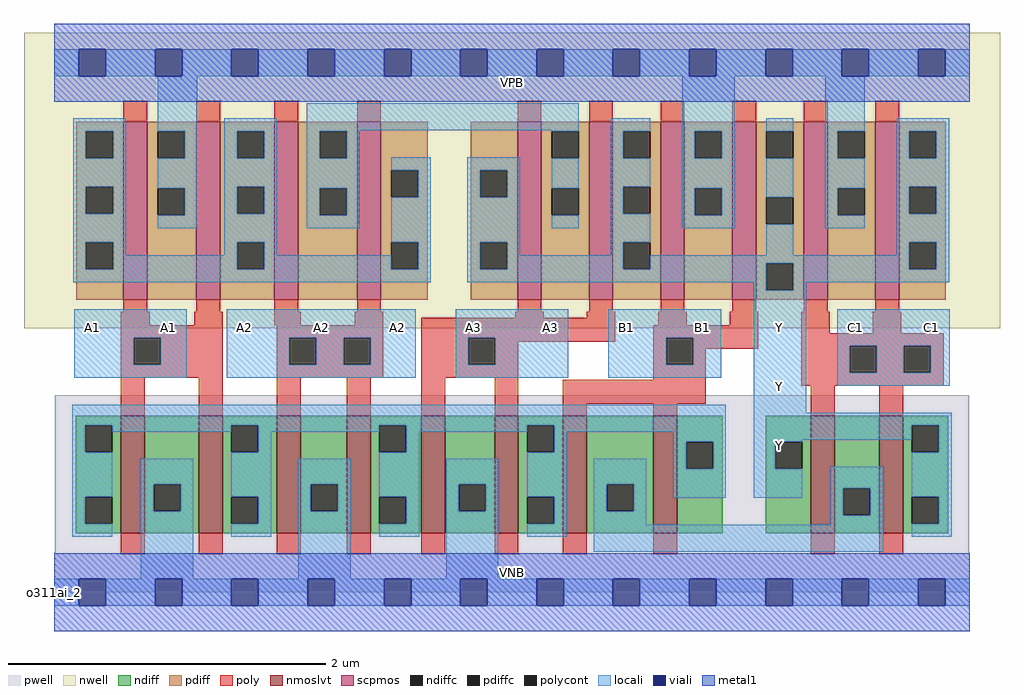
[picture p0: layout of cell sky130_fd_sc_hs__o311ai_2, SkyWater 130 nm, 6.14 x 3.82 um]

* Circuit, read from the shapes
.subckt sky130_fd_sc_hs__o311ai_2 A1 A2 A3 B1 C1 VGND VNB VPB VPWR Y
XM1 VGND A1 n1 VNB sky130_fd_pr__nfet_01v8_lvt w=0.74 l=0.15 m=2
XM2 VGND A2 n1 VNB sky130_fd_pr__nfet_01v8_lvt w=0.74 l=0.15 m=2
XM3 VGND A3 n1 VNB sky130_fd_pr__nfet_01v8_lvt w=0.74 l=0.15 m=2
XM4 n2 B1 n1 VNB sky130_fd_pr__nfet_01v8_lvt w=0.74 l=0.15 m=2
XM5 n2 C1 Y VNB sky130_fd_pr__nfet_01v8_lvt w=0.74 l=0.15 m=2
XM6 VPWR A1 n3 VPB sky130_fd_pr__pfet_01v8 w=1.12 l=0.15 m=2
XM7 n4 A2 n3 VPB sky130_fd_pr__pfet_01v8 w=1.12 l=0.15 m=2
XM8 n4 A3 Y VPB sky130_fd_pr__pfet_01v8 w=1.12 l=0.15 m=2
XM9 VPWR B1 Y VPB sky130_fd_pr__pfet_01v8 w=1.12 l=0.15 m=2
XM10 VPWR C1 Y VPB sky130_fd_pr__pfet_01v8 w=1.12 l=0.15 m=2
.ends

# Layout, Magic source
magic
tech sky130A
magscale 1 2
<< nwell >>
rect -38 332 1190 704
<< pwell >>
rect 1 49 1151 248
rect 0 0 1152 49
<< scpmos >>
rect 87 368 117 592
rect 179 368 209 592
rect 277 368 307 592
rect 381 368 411 592
rect 583 368 613 592
rect 673 368 703 592
rect 763 368 793 592
rect 853 368 883 592
rect 943 368 973 592
rect 1033 368 1063 592
<< nmoslvt >>
rect 84 74 114 222
rect 182 74 212 222
rect 280 74 310 222
rect 368 74 398 222
rect 462 74 492 222
rect 554 74 584 222
rect 640 74 670 222
rect 754 74 784 222
rect 952 74 982 222
rect 1038 74 1068 222
<< ndiff >>
rect 27 210 84 222
rect 27 176 39 210
rect 73 176 84 210
rect 27 120 84 176
rect 27 86 39 120
rect 73 86 84 120
rect 27 74 84 86
rect 114 136 182 222
rect 114 102 125 136
rect 159 102 182 136
rect 114 74 182 102
rect 212 210 280 222
rect 212 176 223 210
rect 257 176 280 210
rect 212 120 280 176
rect 212 86 223 120
rect 257 86 280 120
rect 212 74 280 86
rect 310 136 368 222
rect 310 102 323 136
rect 357 102 368 136
rect 310 74 368 102
rect 398 210 462 222
rect 398 176 409 210
rect 443 176 462 210
rect 398 120 462 176
rect 398 86 409 120
rect 443 86 462 120
rect 398 74 462 86
rect 492 136 554 222
rect 492 102 509 136
rect 543 102 554 136
rect 492 74 554 102
rect 584 210 640 222
rect 584 176 595 210
rect 629 176 640 210
rect 584 120 640 176
rect 584 86 595 120
rect 629 86 640 120
rect 584 74 640 86
rect 670 136 754 222
rect 670 102 695 136
rect 729 102 754 136
rect 670 74 754 102
rect 784 189 841 222
rect 784 155 795 189
rect 829 155 841 189
rect 784 74 841 155
rect 895 189 952 222
rect 895 155 907 189
rect 941 155 952 189
rect 895 74 952 155
rect 982 131 1038 222
rect 982 97 993 131
rect 1027 97 1038 131
rect 982 74 1038 97
rect 1068 210 1125 222
rect 1068 176 1079 210
rect 1113 176 1125 210
rect 1068 120 1125 176
rect 1068 86 1079 120
rect 1113 86 1125 120
rect 1068 74 1125 86
<< pdiff >>
rect 28 580 87 592
rect 28 546 40 580
rect 74 546 87 580
rect 28 510 87 546
rect 28 476 40 510
rect 74 476 87 510
rect 28 440 87 476
rect 28 406 40 440
rect 74 406 87 440
rect 28 368 87 406
rect 117 580 179 592
rect 117 546 130 580
rect 164 546 179 580
rect 117 508 179 546
rect 117 474 130 508
rect 164 474 179 508
rect 117 368 179 474
rect 209 580 277 592
rect 209 546 230 580
rect 264 546 277 580
rect 209 510 277 546
rect 209 476 230 510
rect 264 476 277 510
rect 209 440 277 476
rect 209 406 230 440
rect 264 406 277 440
rect 209 368 277 406
rect 307 580 381 592
rect 307 546 334 580
rect 368 546 381 580
rect 307 508 381 546
rect 307 474 334 508
rect 368 474 381 508
rect 307 368 381 474
rect 411 531 470 592
rect 411 497 424 531
rect 458 497 470 531
rect 411 440 470 497
rect 411 406 424 440
rect 458 406 470 440
rect 411 368 470 406
rect 524 531 583 592
rect 524 497 536 531
rect 570 497 583 531
rect 524 440 583 497
rect 524 406 536 440
rect 570 406 583 440
rect 524 368 583 406
rect 613 580 673 592
rect 613 546 626 580
rect 660 546 673 580
rect 613 508 673 546
rect 613 474 626 508
rect 660 474 673 508
rect 613 368 673 474
rect 703 580 763 592
rect 703 546 716 580
rect 750 546 763 580
rect 703 510 763 546
rect 703 476 716 510
rect 750 476 763 510
rect 703 440 763 476
rect 703 406 716 440
rect 750 406 763 440
rect 703 368 763 406
rect 793 580 853 592
rect 793 546 806 580
rect 840 546 853 580
rect 793 508 853 546
rect 793 474 806 508
rect 840 474 853 508
rect 793 368 853 474
rect 883 580 943 592
rect 883 546 896 580
rect 930 546 943 580
rect 883 497 943 546
rect 883 463 896 497
rect 930 463 943 497
rect 883 414 943 463
rect 883 380 896 414
rect 930 380 943 414
rect 883 368 943 380
rect 973 580 1033 592
rect 973 546 986 580
rect 1020 546 1033 580
rect 973 508 1033 546
rect 973 474 986 508
rect 1020 474 1033 508
rect 973 368 1033 474
rect 1063 580 1122 592
rect 1063 546 1076 580
rect 1110 546 1122 580
rect 1063 510 1122 546
rect 1063 476 1076 510
rect 1110 476 1122 510
rect 1063 440 1122 476
rect 1063 406 1076 440
rect 1110 406 1122 440
rect 1063 368 1122 406
<< ndiffc >>
rect 39 176 73 210
rect 39 86 73 120
rect 125 102 159 136
rect 223 176 257 210
rect 223 86 257 120
rect 323 102 357 136
rect 409 176 443 210
rect 409 86 443 120
rect 509 102 543 136
rect 595 176 629 210
rect 595 86 629 120
rect 695 102 729 136
rect 795 155 829 189
rect 907 155 941 189
rect 993 97 1027 131
rect 1079 176 1113 210
rect 1079 86 1113 120
<< pdiffc >>
rect 40 546 74 580
rect 40 476 74 510
rect 40 406 74 440
rect 130 546 164 580
rect 130 474 164 508
rect 230 546 264 580
rect 230 476 264 510
rect 230 406 264 440
rect 334 546 368 580
rect 334 474 368 508
rect 424 497 458 531
rect 424 406 458 440
rect 536 497 570 531
rect 536 406 570 440
rect 626 546 660 580
rect 626 474 660 508
rect 716 546 750 580
rect 716 476 750 510
rect 716 406 750 440
rect 806 546 840 580
rect 806 474 840 508
rect 896 546 930 580
rect 896 463 930 497
rect 896 380 930 414
rect 986 546 1020 580
rect 986 474 1020 508
rect 1076 546 1110 580
rect 1076 476 1110 510
rect 1076 406 1110 440
<< poly >>
rect 87 592 117 618
rect 179 592 209 618
rect 277 592 307 618
rect 381 592 411 618
rect 583 592 613 618
rect 673 592 703 618
rect 763 592 793 618
rect 853 592 883 618
rect 943 592 973 618
rect 1033 592 1063 618
rect 87 353 117 368
rect 179 353 209 368
rect 277 353 307 368
rect 381 353 411 368
rect 583 353 613 368
rect 673 353 703 368
rect 763 353 793 368
rect 853 353 883 368
rect 943 353 973 368
rect 1033 353 1063 368
rect 84 336 120 353
rect 176 336 212 353
rect 277 336 310 353
rect 378 336 414 353
rect 580 345 616 353
rect 670 345 706 353
rect 84 320 212 336
rect 84 286 100 320
rect 134 286 212 320
rect 84 270 212 286
rect 84 222 114 270
rect 182 222 212 270
rect 280 320 414 336
rect 280 286 296 320
rect 330 286 364 320
rect 398 286 414 320
rect 280 270 414 286
rect 462 320 706 345
rect 760 336 796 353
rect 850 336 886 353
rect 462 286 521 320
rect 555 315 706 320
rect 754 320 886 336
rect 555 286 584 315
rect 462 270 584 286
rect 280 222 310 270
rect 368 222 398 270
rect 462 222 492 270
rect 554 222 584 270
rect 754 286 770 320
rect 804 306 886 320
rect 940 326 976 353
rect 1030 326 1066 353
rect 940 310 1119 326
rect 804 286 820 306
rect 754 267 820 286
rect 640 237 820 267
rect 940 276 1001 310
rect 1035 276 1069 310
rect 1103 276 1119 310
rect 940 260 1119 276
rect 640 222 670 237
rect 754 222 784 237
rect 952 222 982 260
rect 1038 222 1068 260
rect 84 48 114 74
rect 182 48 212 74
rect 280 48 310 74
rect 368 48 398 74
rect 462 48 492 74
rect 554 48 584 74
rect 640 48 670 74
rect 754 48 784 74
rect 952 48 982 74
rect 1038 48 1068 74
<< polycont >>
rect 100 286 134 320
rect 296 286 330 320
rect 364 286 398 320
rect 521 286 555 320
rect 770 286 804 320
rect 1001 276 1035 310
rect 1069 276 1103 310
<< locali >>
rect 0 649 31 683
rect 65 649 127 683
rect 161 649 223 683
rect 257 649 319 683
rect 353 649 415 683
rect 449 649 511 683
rect 545 649 607 683
rect 641 649 703 683
rect 737 649 799 683
rect 833 649 895 683
rect 929 649 991 683
rect 1025 649 1087 683
rect 1121 649 1152 683
rect 24 580 90 596
rect 24 546 40 580
rect 74 546 90 580
rect 24 510 90 546
rect 24 476 40 510
rect 74 476 90 510
rect 24 440 90 476
rect 130 580 180 649
rect 164 546 180 580
rect 130 508 180 546
rect 164 474 180 508
rect 130 458 180 474
rect 214 580 280 596
rect 214 546 230 580
rect 264 546 280 580
rect 214 510 280 546
rect 214 476 230 510
rect 264 476 280 510
rect 24 406 40 440
rect 74 424 90 440
rect 214 440 280 476
rect 318 581 660 615
rect 318 580 384 581
rect 318 546 334 580
rect 368 546 384 580
rect 626 580 660 581
rect 318 508 384 546
rect 318 474 334 508
rect 368 474 384 508
rect 318 458 384 474
rect 424 531 474 547
rect 458 497 474 531
rect 214 424 230 440
rect 74 406 230 424
rect 264 424 280 440
rect 424 440 474 497
rect 264 406 424 424
rect 458 406 474 440
rect 24 390 474 406
rect 520 531 586 547
rect 520 497 536 531
rect 570 497 586 531
rect 520 440 586 497
rect 626 508 660 546
rect 626 458 660 474
rect 700 580 750 596
rect 700 546 716 580
rect 700 510 750 546
rect 700 476 716 510
rect 520 406 536 440
rect 570 424 586 440
rect 700 440 750 476
rect 790 580 856 649
rect 790 546 806 580
rect 840 546 856 580
rect 790 508 856 546
rect 790 474 806 508
rect 840 474 856 508
rect 790 458 856 474
rect 896 580 930 596
rect 896 497 930 546
rect 700 424 716 440
rect 570 406 716 424
rect 896 424 930 463
rect 970 580 1020 649
rect 970 546 986 580
rect 970 508 1020 546
rect 970 474 986 508
rect 970 458 1020 474
rect 1060 580 1126 596
rect 1060 546 1076 580
rect 1110 546 1126 580
rect 1060 510 1126 546
rect 1060 476 1076 510
rect 1110 476 1126 510
rect 1060 440 1126 476
rect 1060 424 1076 440
rect 750 414 1076 424
rect 750 406 896 414
rect 520 390 896 406
rect 880 380 896 390
rect 930 406 1076 414
rect 1110 406 1126 440
rect 930 390 1126 406
rect 930 380 946 390
rect 25 320 167 356
rect 25 286 100 320
rect 134 286 167 320
rect 25 270 167 286
rect 217 320 455 356
rect 217 286 296 320
rect 330 286 364 320
rect 398 286 455 320
rect 217 270 455 286
rect 505 320 647 356
rect 505 286 521 320
rect 555 286 647 320
rect 505 270 647 286
rect 697 320 839 356
rect 697 286 770 320
rect 804 286 839 320
rect 697 270 839 286
rect 23 210 845 236
rect 23 176 39 210
rect 73 202 223 210
rect 23 120 73 176
rect 257 202 409 210
rect 257 176 273 202
rect 23 86 39 120
rect 23 70 73 86
rect 109 136 175 168
rect 109 102 125 136
rect 159 102 175 136
rect 109 17 175 102
rect 223 120 273 176
rect 443 202 595 210
rect 443 176 459 202
rect 257 86 273 120
rect 223 70 273 86
rect 307 136 373 168
rect 307 102 323 136
rect 357 102 373 136
rect 307 17 373 102
rect 409 120 459 176
rect 629 202 845 210
rect 629 176 645 202
rect 443 86 459 120
rect 409 70 459 86
rect 493 136 559 168
rect 493 102 509 136
rect 543 102 559 136
rect 493 17 559 102
rect 595 120 645 176
rect 779 189 845 202
rect 629 86 645 120
rect 595 70 645 86
rect 679 136 745 168
rect 679 102 695 136
rect 729 102 745 136
rect 779 155 795 189
rect 829 155 845 189
rect 779 119 845 155
rect 880 226 946 380
rect 985 310 1127 356
rect 985 276 1001 310
rect 1035 276 1069 310
rect 1103 276 1127 310
rect 985 260 1127 276
rect 880 210 1129 226
rect 880 192 1079 210
rect 880 189 941 192
rect 880 155 907 189
rect 1113 176 1129 210
rect 880 119 941 155
rect 977 131 1043 158
rect 679 85 745 102
rect 977 97 993 131
rect 1027 97 1043 131
rect 977 85 1043 97
rect 679 51 1043 85
rect 1079 120 1129 176
rect 1113 86 1129 120
rect 1079 70 1129 86
rect 0 -17 31 17
rect 65 -17 127 17
rect 161 -17 223 17
rect 257 -17 319 17
rect 353 -17 415 17
rect 449 -17 511 17
rect 545 -17 607 17
rect 641 -17 703 17
rect 737 -17 799 17
rect 833 -17 895 17
rect 929 -17 991 17
rect 1025 -17 1087 17
rect 1121 -17 1152 17
<< viali >>
rect 31 649 65 683
rect 127 649 161 683
rect 223 649 257 683
rect 319 649 353 683
rect 415 649 449 683
rect 511 649 545 683
rect 607 649 641 683
rect 703 649 737 683
rect 799 649 833 683
rect 895 649 929 683
rect 991 649 1025 683
rect 1087 649 1121 683
rect 31 -17 65 17
rect 127 -17 161 17
rect 223 -17 257 17
rect 319 -17 353 17
rect 415 -17 449 17
rect 511 -17 545 17
rect 607 -17 641 17
rect 703 -17 737 17
rect 799 -17 833 17
rect 895 -17 929 17
rect 991 -17 1025 17
rect 1087 -17 1121 17
<< metal1 >>
rect 0 683 1152 715
rect 0 649 31 683
rect 65 649 127 683
rect 161 649 223 683
rect 257 649 319 683
rect 353 649 415 683
rect 449 649 511 683
rect 545 649 607 683
rect 641 649 703 683
rect 737 649 799 683
rect 833 649 895 683
rect 929 649 991 683
rect 1025 649 1087 683
rect 1121 649 1152 683
rect 0 617 1152 649
rect 0 17 1152 49
rect 0 -17 31 17
rect 65 -17 127 17
rect 161 -17 223 17
rect 257 -17 319 17
rect 353 -17 415 17
rect 449 -17 511 17
rect 545 -17 607 17
rect 641 -17 703 17
rect 737 -17 799 17
rect 833 -17 895 17
rect 929 -17 991 17
rect 1025 -17 1087 17
rect 1121 -17 1152 17
rect 0 -49 1152 -17
<< labels >>
rlabel comment s 0 0 0 0 4 o311ai_2
flabel pwell s 0 0 1152 49 0 FreeSans 200 0 0 0 VNB
port 7 nsew ground bidirectional
flabel nwell s 0 617 1152 666 0 FreeSans 200 0 0 0 VPB
port 8 nsew power bidirectional
flabel metal1 s 0 617 1152 666 0 FreeSans 340 0 0 0 VPWR
port 9 nsew power bidirectional
flabel metal1 s 0 0 1152 49 0 FreeSans 340 0 0 0 VGND
port 6 nsew ground bidirectional
flabel locali s 223 316 257 350 0 FreeSans 340 0 0 0 A2
port 2 nsew signal input
flabel locali s 319 316 353 350 0 FreeSans 340 0 0 0 A2
port 2 nsew signal input
flabel locali s 415 316 449 350 0 FreeSans 340 0 0 0 A2
port 2 nsew signal input
flabel locali s 511 316 545 350 0 FreeSans 340 0 0 0 A3
port 3 nsew signal input
flabel locali s 607 316 641 350 0 FreeSans 340 0 0 0 A3
port 3 nsew signal input
flabel locali s 991 316 1025 350 0 FreeSans 340 0 0 0 C1
port 5 nsew signal input
flabel locali s 1087 316 1121 350 0 FreeSans 340 0 0 0 C1
port 5 nsew signal input
flabel locali s 703 316 737 350 0 FreeSans 340 0 0 0 B1
port 4 nsew signal input
flabel locali s 799 316 833 350 0 FreeSans 340 0 0 0 B1
port 4 nsew signal input
flabel locali s 895 168 929 202 0 FreeSans 340 0 0 0 Y
port 10 nsew signal output
flabel locali s 895 242 929 276 0 FreeSans 340 0 0 0 Y
port 10 nsew signal output
flabel locali s 895 316 929 350 0 FreeSans 340 0 0 0 Y
port 10 nsew signal output
flabel locali s 31 316 65 350 0 FreeSans 340 0 0 0 A1
port 1 nsew signal input
flabel locali s 127 316 161 350 0 FreeSans 340 0 0 0 A1
port 1 nsew signal input
<< properties >>
string LEFsite unit
string LEFclass CORE
string FIXED_BBOX 0 0 1152 666
string GDS_FILE $PDKPATH/libs.ref/sky130_fd_sc_hs/gds/sky130_fd_sc_hs.gds
string LEFsymmetry X Y
string GDS_END 592986
string GDS_START 582232
<< end >>
